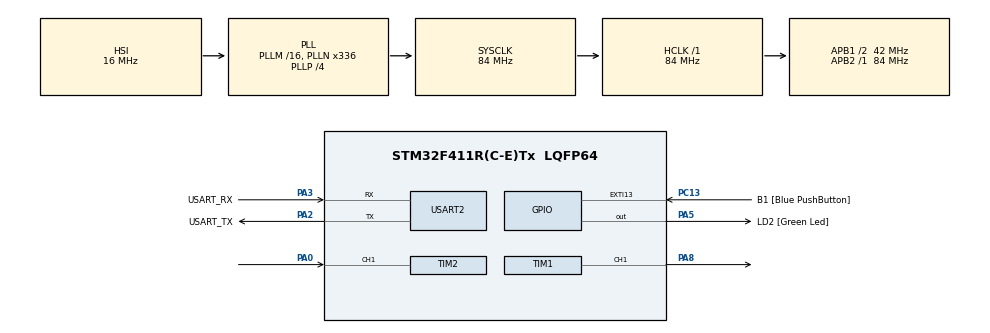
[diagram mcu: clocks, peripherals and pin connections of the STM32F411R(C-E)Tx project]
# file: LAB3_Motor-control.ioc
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Dma.Request0=TIM2_CH1
Dma.TIM2_CH1.0.Direction=DMA_PERIPH_TO_MEMORY
Dma.TIM2_CH1.0.FIFOMode=DMA_FIFOMODE_DISABLE
Dma.TIM2_CH1.0.Instance=DMA1_Stream5
Dma.TIM2_CH1.0.MemDataAlignment=DMA_MDATAALIGN_WORD
Dma.TIM2_CH1.0.MemInc=DMA_MINC_ENABLE
Dma.TIM2_CH1.0.Mode=DMA_CIRCULAR
Dma.TIM2_CH1.0.PeriphDataAlignment=DMA_PDATAALIGN_WORD
Dma.TIM2_CH1.0.PeriphInc=DMA_PINC_DISABLE
Dma.TIM2_CH1.0.Priority=DMA_PRIORITY_LOW
Mcu.Family=STM32F4
Mcu.Name=STM32F411R(C-E)Tx
Mcu.Package=LQFP64
NVIC.DMA1_Stream5_IRQn=true\:0\:0\:false\:false\:true\:false\:true\:true
NVIC.PriorityGroup=NVIC_PRIORITYGROUP_0
PA0-WKUP.Signal=S_TIM2_CH1_ETR
PA13.GPIO_Label=TMS
PA13.Mode=Serial_Wire
PA13.Signal=SYS_JTMS-SWDIO
PA14.GPIO_Label=TCK
PA14.Mode=Serial_Wire
PA14.Signal=SYS_JTCK-SWCLK
PA2.GPIO_Label=USART_TX
PA2.Mode=Asynchronous
PA2.Signal=USART2_TX
PA3.GPIO_Label=USART_RX
PA3.Mode=Asynchronous
PA3.Signal=USART2_RX
PA5.GPIO_Label=LD2 [Green Led]
PA5.Signal=GPIO_Output
PA8.Signal=S_TIM1_CH1
PB3.GPIO_Label=SWO
PB3.Signal=SYS_JTDO-SWO
PC13-ANTI_TAMP.GPIO_Label=B1 [Blue PushButton]
PC13-ANTI_TAMP.GPIO_ModeDefaultEXTI=GPIO_MODE_IT_FALLING
PC13-ANTI_TAMP.Signal=GPXTI13
PC14-OSC32_IN.Mode=LSE-External-Oscillator
PC14-OSC32_IN.Signal=RCC_OSC32_IN
PC15-OSC32_OUT.Mode=LSE-External-Oscillator
PC15-OSC32_OUT.Signal=RCC_OSC32_OUT
PH0\ -\ OSC_IN.Mode=HSE-External-Clock-Source
PH0\ -\ OSC_IN.Signal=RCC_OSC_IN
PH1\ -\ OSC_OUT.Mode=HSE-External-Clock-Source
PH1\ -\ OSC_OUT.Signal=RCC_OSC_OUT
ProjectManager.HeapSize=0x200
ProjectManager.StackSize=0x400
ProjectManager.TargetToolchain=STM32CubeIDE
RCC.48MHZClocksFreq_Value=84000000
RCC.AHBFreq_Value=84000000
RCC.APB1CLKDivider=RCC_HCLK_DIV2
RCC.APB1Freq_Value=42000000
RCC.APB1TimFreq_Value=84000000
RCC.APB2Freq_Value=84000000
RCC.APB2TimFreq_Value=84000000
RCC.CortexFreq_Value=84000000
RCC.FLatency-AdvancedSettings=FLASH_LATENCY_2
RCC.HCLKFreq_Value=84000000
RCC.HSE_VALUE=8000000
RCC.HSI_VALUE=16000000
RCC.PLLN=336
RCC.PLLP=RCC_PLLP_DIV4
RCC.SYSCLKFreq_VALUE=84000000
RCC.SYSCLKSource=RCC_SYSCLKSOURCE_PLLCLK
RCC.VCOOutputFreq_Value=336000000
SH.S_TIM1_CH1.0=TIM1_CH1,PWM Generation1 CH1
SH.S_TIM2_CH1_ETR.0=TIM2_CH1,Input_Capture1_from_TI1
TIM1.Channel-PWM\ Generation1\ CH1=TIM_CHANNEL_1
TIM1.Period=199
TIM1.Prescaler=83
TIM1.Pulse-PWM\ Generation1\ CH1=200
TIM2.Channel-Input_Capture1_from_TI1=TIM_CHANNEL_1
TIM2.ICFilter_CH1=0
TIM2.Prescaler=83
USART2.VirtualMode=VM_ASYNC
VP_TIM1_VS_ClockSourceINT.Mode=Internal
VP_TIM2_VS_ClockSourceINT.Mode=Internal
board=NUCLEO-F411RE

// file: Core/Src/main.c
/* USER CODE BEGIN Header */
/**
  ******************************************************************************
  * @file           : main.c
  * @brief          : Main program body
  ******************************************************************************
  * @attention
  *
  * Copyright (c) 2023 STMicroelectronics.
  * All rights reserved.
  *
  * This software is licensed under terms that can be found in the LICENSE file
  * in the root directory of this software component.
  * If no LICENSE file comes with this software, it is provided AS-IS.
  *
  ******************************************************************************
  */
/* USER CODE END Header */
#include "main.h"

/* USER CODE BEGIN Includes */
#define IC_BUFFER_SIZE 20
/* USER CODE END Includes */

TIM_HandleTypeDef htim1;
TIM_HandleTypeDef htim2;
DMA_HandleTypeDef hdma_tim2_ch1;

UART_HandleTypeDef huart2;

/* USER CODE BEGIN PV */
uint32_t InputCaptureBuffer[IC_BUFFER_SIZE];
float averageRisingedgePeriod;
float MotorReadRPM;
int MotorSetRPM;
float ControlRPM;
float MotorSetDuty = 100;
int MotorControlEnable = 0;
float kp = 7;
float ki = 1;
float vout = 0;
/* USER CODE END PV */

void SystemClock_Config(void);
static void MX_GPIO_Init(void);
static void MX_DMA_Init(void);
static void MX_USART2_UART_Init(void);
static void MX_TIM2_Init(void);
static void MX_TIM1_Init(void);
/* USER CODE BEGIN PFP */
float IC_Calc_Period();
float PI_Control();
/* USER CODE END PFP */

int main(void)
{

  /* MCU Configuration--------------------------------------------------------*/

  /* Reset of all peripherals, Initializes the Flash interface and the Systick. */
  HAL_Init();

  /* Configure the system clock */
  SystemClock_Config();

  /* Initialize all configured peripherals */
  MX_GPIO_Init();
  MX_DMA_Init();
  MX_USART2_UART_Init();
  MX_TIM2_Init();
  MX_TIM1_Init();
  /* USER CODE BEGIN 2 */
  HAL_TIM_Base_Start(&htim2);
  HAL_TIM_IC_Start_DMA(&htim2, TIM_CHANNEL_1, InputCaptureBuffer, IC_BUFFER_SIZE);

  HAL_TIM_Base_Start(&htim1);
  HAL_TIM_PWM_Start(&htim1, TIM_CHANNEL_1);
  /* USER CODE END 2 */

  /* Infinite loop */
  while (1)
  {

    /* USER CODE BEGIN 3 */
	  static uint32_t timestamp = 0;
	  if(HAL_GetTick()>=timestamp)
	  {
		  timestamp = HAL_GetTick()+10; // 1ms = 1000Hz
		  averageRisingedgePeriod = IC_Calc_Period();
		  MotorReadRPM = (60*1000000)/(averageRisingedgePeriod*64*12);
		  if(MotorControlEnable == 1)
		  {
			  ControlRPM = PI_Control();
			  //*2 -> Counter Period = 200 -> Make it can config with range 0%->100%
			  __HAL_TIM_SET_COMPARE(&htim1,TIM_CHANNEL_1,ControlRPM*2);
		  }
		  else __HAL_TIM_SET_COMPARE(&htim1,TIM_CHANNEL_1,MotorSetDuty*2);
	  }

  }
  /* USER CODE END 3 */
}

void SystemClock_Config(void)
{
  RCC_OscInitTypeDef RCC_OscInitStruct = {0};
  RCC_ClkInitTypeDef RCC_ClkInitStruct = {0};

  /** Configure the main internal regulator output voltage
  */
  __HAL_RCC_PWR_CLK_ENABLE();
  __HAL_PWR_VOLTAGESCALING_CONFIG(PWR_REGULATOR_VOLTAGE_SCALE1);

  /** Initializes the RCC Oscillators according to the specified parameters
  * in the RCC_OscInitTypeDef structure.
  */
  RCC_OscInitStruct.OscillatorType = RCC_OSCILLATORTYPE_HSI;
  RCC_OscInitStruct.HSIState = RCC_HSI_ON;
  RCC_OscInitStruct.HSICalibrationValue = RCC_HSICALIBRATION_DEFAULT;
  RCC_OscInitStruct.PLL.PLLState = RCC_PLL_ON;
  RCC_OscInitStruct.PLL.PLLSource = RCC_PLLSOURCE_HSI;
  RCC_OscInitStruct.PLL.PLLM = 16;
  RCC_OscInitStruct.PLL.PLLN = 336;
  RCC_OscInitStruct.PLL.PLLP = RCC_PLLP_DIV4;
  RCC_OscInitStruct.PLL.PLLQ = 4;
  if (HAL_RCC_OscConfig(&RCC_OscInitStruct) != HAL_OK)
  {
    Error_Handler();
  }

  /** Initializes the CPU, AHB and APB buses clocks
  */
  RCC_ClkInitStruct.ClockType = RCC_CLOCKTYPE_HCLK|RCC_CLOCKTYPE_SYSCLK
                              |RCC_CLOCKTYPE_PCLK1|RCC_CLOCKTYPE_PCLK2;
  RCC_ClkInitStruct.SYSCLKSource = RCC_SYSCLKSOURCE_PLLCLK;
  RCC_ClkInitStruct.AHBCLKDivider = RCC_SYSCLK_DIV1;
  RCC_ClkInitStruct.APB1CLKDivider = RCC_HCLK_DIV2;
  RCC_ClkInitStruct.APB2CLKDivider = RCC_HCLK_DIV1;

  if (HAL_RCC_ClockConfig(&RCC_ClkInitStruct, FLASH_LATENCY_2) != HAL_OK)
  {
    Error_Handler();
  }
}

static void MX_TIM1_Init(void)
{

  TIM_ClockConfigTypeDef sClockSourceConfig = {0};
  TIM_MasterConfigTypeDef sMasterConfig = {0};
  TIM_OC_InitTypeDef sConfigOC = {0};
  TIM_BreakDeadTimeConfigTypeDef sBreakDeadTimeConfig = {0};

  htim1.Instance = TIM1;
  htim1.Init.Prescaler = 83;
  htim1.Init.CounterMode = TIM_COUNTERMODE_UP;
  htim1.Init.Period = 199;
  htim1.Init.ClockDivision = TIM_CLOCKDIVISION_DIV1;
  htim1.Init.RepetitionCounter = 0;
  htim1.Init.AutoReloadPreload = TIM_AUTORELOAD_PRELOAD_DISABLE;
  if (HAL_TIM_Base_Init(&htim1) != HAL_OK)
  {
    Error_Handler();
  }
  sClockSourceConfig.ClockSource = TIM_CLOCKSOURCE_INTERNAL;
  if (HAL_TIM_ConfigClockSource(&htim1, &sClockSourceConfig) != HAL_OK)
  {
    Error_Handler();
  }
  if (HAL_TIM_PWM_Init(&htim1) != HAL_OK)
  {
    Error_Handler();
  }
  sMasterConfig.MasterOutputTrigger = TIM_TRGO_RESET;
  sMasterConfig.MasterSlaveMode = TIM_MASTERSLAVEMODE_DISABLE;
  if (HAL_TIMEx_MasterConfigSynchronization(&htim1, &sMasterConfig) != HAL_OK)
  {
    Error_Handler();
  }
  sConfigOC.OCMode = TIM_OCMODE_PWM1;
  sConfigOC.Pulse = 200;
  sConfigOC.OCPolarity = TIM_OCPOLARITY_HIGH;
  sConfigOC.OCNPolarity = TIM_OCNPOLARITY_HIGH;
  sConfigOC.OCFastMode = TIM_OCFAST_DISABLE;
  sConfigOC.OCIdleState = TIM_OCIDLESTATE_RESET;
  sConfigOC.OCNIdleState = TIM_OCNIDLESTATE_RESET;
  if (HAL_TIM_PWM_ConfigChannel(&htim1, &sConfigOC, TIM_CHANNEL_1) != HAL_OK)
  {
    Error_Handler();
  }
  sBreakDeadTimeConfig.OffStateRunMode = TIM_OSSR_DISABLE;
  sBreakDeadTimeConfig.OffStateIDLEMode = TIM_OSSI_DISABLE;
  sBreakDeadTimeConfig.LockLevel = TIM_LOCKLEVEL_OFF;
  sBreakDeadTimeConfig.DeadTime = 0;
  sBreakDeadTimeConfig.BreakState = TIM_BREAK_DISABLE;
  sBreakDeadTimeConfig.BreakPolarity = TIM_BREAKPOLARITY_HIGH;
  sBreakDeadTimeConfig.AutomaticOutput = TIM_AUTOMATICOUTPUT_DISABLE;
  if (HAL_TIMEx_ConfigBreakDeadTime(&htim1, &sBreakDeadTimeConfig) != HAL_OK)
  {
    Error_Handler();
  }
  HAL_TIM_MspPostInit(&htim1);

}

static void MX_TIM2_Init(void)
{

  TIM_ClockConfigTypeDef sClockSourceConfig = {0};
  TIM_MasterConfigTypeDef sMasterConfig = {0};
  TIM_IC_InitTypeDef sConfigIC = {0};

  htim2.Instance = TIM2;
  htim2.Init.Prescaler = 83;
  htim2.Init.CounterMode = TIM_COUNTERMODE_UP;
  htim2.Init.Period = 4294967295;
  htim2.Init.ClockDivision = TIM_CLOCKDIVISION_DIV1;
  htim2.Init.AutoReloadPreload = TIM_AUTORELOAD_PRELOAD_DISABLE;
  if (HAL_TIM_Base_Init(&htim2) != HAL_OK)
  {
    Error_Handler();
  }
  sClockSourceConfig.ClockSource = TIM_CLOCKSOURCE_INTERNAL;
  if (HAL_TIM_ConfigClockSource(&htim2, &sClockSourceConfig) != HAL_OK)
  {
    Error_Handler();
  }
  if (HAL_TIM_IC_Init(&htim2) != HAL_OK)
  {
    Error_Handler();
  }
  sMasterConfig.MasterOutputTrigger = TIM_TRGO_RESET;
  sMasterConfig.MasterSlaveMode = TIM_MASTERSLAVEMODE_DISABLE;
  if (HAL_TIMEx_MasterConfigSynchronization(&htim2, &sMasterConfig) != HAL_OK)
  {
    Error_Handler();
  }
  sConfigIC.ICPolarity = TIM_INPUTCHANNELPOLARITY_RISING;
  sConfigIC.ICSelection = TIM_ICSELECTION_DIRECTTI;
  sConfigIC.ICPrescaler = TIM_ICPSC_DIV1;
  sConfigIC.ICFilter = 0;
  if (HAL_TIM_IC_ConfigChannel(&htim2, &sConfigIC, TIM_CHANNEL_1) != HAL_OK)
  {
    Error_Handler();
  }

}

static void MX_USART2_UART_Init(void)
{

  huart2.Instance = USART2;
  huart2.Init.BaudRate = 115200;
  huart2.Init.WordLength = UART_WORDLENGTH_8B;
  huart2.Init.StopBits = UART_STOPBITS_1;
  huart2.Init.Parity = UART_PARITY_NONE;
  huart2.Init.Mode = UART_MODE_TX_RX;
  huart2.Init.HwFlowCtl = UART_HWCONTROL_NONE;
  huart2.Init.OverSampling = UART_OVERSAMPLING_16;
  if (HAL_UART_Init(&huart2) != HAL_OK)
  {
    Error_Handler();
  }

}

static void MX_DMA_Init(void)
{

  /* DMA controller clock enable */
  __HAL_RCC_DMA1_CLK_ENABLE();

  /* DMA interrupt init */
  /* DMA1_Stream5_IRQn interrupt configuration */
  HAL_NVIC_SetPriority(DMA1_Stream5_IRQn, 0, 0);
  HAL_NVIC_EnableIRQ(DMA1_Stream5_IRQn);

}

static void MX_GPIO_Init(void)
{
  GPIO_InitTypeDef GPIO_InitStruct = {0};

  /* GPIO Ports Clock Enable */
  __HAL_RCC_GPIOC_CLK_ENABLE();
  __HAL_RCC_GPIOH_CLK_ENABLE();
  __HAL_RCC_GPIOA_CLK_ENABLE();
  __HAL_RCC_GPIOB_CLK_ENABLE();

  /*Configure GPIO pin Output Level */
  HAL_GPIO_WritePin(LD2_GPIO_Port, LD2_Pin, GPIO_PIN_RESET);

  /*Configure GPIO pin : B1_Pin */
  GPIO_InitStruct.Pin = B1_Pin;
  GPIO_InitStruct.Mode = GPIO_MODE_IT_FALLING;
  GPIO_InitStruct.Pull = GPIO_NOPULL;
  HAL_GPIO_Init(B1_GPIO_Port, &GPIO_InitStruct);

  /*Configure GPIO pin : LD2_Pin */
  GPIO_InitStruct.Pin = LD2_Pin;
  GPIO_InitStruct.Mode = GPIO_MODE_OUTPUT_PP;
  GPIO_InitStruct.Pull = GPIO_NOPULL;
  GPIO_InitStruct.Speed = GPIO_SPEED_FREQ_LOW;
  HAL_GPIO_Init(LD2_GPIO_Port, &GPIO_InitStruct);

}

/* USER CODE BEGIN 4 */
float IC_Calc_Period()
{
	//Check current positon in DMA by buffer size - current remain size of DMA
	uint32_t currentDMAPointer = IC_BUFFER_SIZE - __HAL_DMA_GET_COUNTER((htim2.hdma[1]));
	//Last position
	uint32_t lastVaildDMAPointer = (currentDMAPointer-1 + IC_BUFFER_SIZE) % IC_BUFFER_SIZE;
	//Check current position in sumdiff data
	uint32_t i = (lastVaildDMAPointer + IC_BUFFER_SIZE - 12) % IC_BUFFER_SIZE;
	int32_t sumdiff = 0;
	while(i!=lastVaildDMAPointer)
	{
		uint32_t firstCapture = InputCaptureBuffer[i];
		uint32_t NextCapture = InputCaptureBuffer[(i+1)%IC_BUFFER_SIZE];
		sumdiff += NextCapture - firstCapture;
		i = (i+1) % IC_BUFFER_SIZE;
	}
	return sumdiff / 12.0;
}
/*PI Control System*/
float PI_Control()
{
	/*P Variable*/
	float e = MotorSetRPM - MotorReadRPM;
	/*I Variable*/
	float eintegral = 0;
	//10000us = 10ms -> Sample Time
	eintegral += e*10000;
	/*Output Variable*/
	float y;
	/*PI Control*/
	vout = kp*e+ki*eintegral;
	//Check vout is overflow or underflow*//
	if(vout > MotorSetRPM<<1) vout-=((MotorSetRPM>>1)-vout);
	if(vout < -(MotorSetRPM<<1)) vout+=((MotorSetRPM>>1)-vout);
	/*Check PWM to not make it more than 100%*/
	y = (vout*100.0)/22.5;
	if(y>100)y=100;
	return y;
}

/* USER CODE END 4 */

void Error_Handler(void)
{
  __disable_irq();
  while (1)
  {
  }
}
